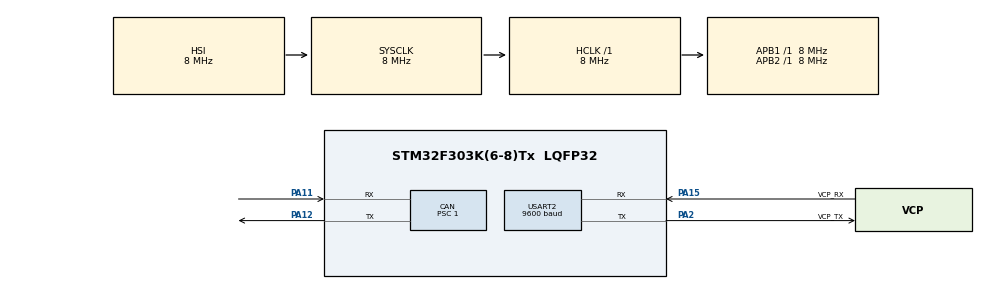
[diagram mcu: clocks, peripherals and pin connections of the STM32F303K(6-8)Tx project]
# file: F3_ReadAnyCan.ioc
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CAN.BS1=CAN_BS1_11TQ
CAN.BS2=CAN_BS2_4TQ
CAN.CalculateBaudRate=500000
CAN.CalculateTimeBit=2000
CAN.CalculateTimeQuantum=125.0
CAN.Prescaler=1
Mcu.Family=STM32F3
Mcu.Name=STM32F303K(6-8)Tx
Mcu.Package=LQFP32
NVIC.CAN_RX0_IRQn=true\:0\:0\:false\:false\:true\:true\:true\:true
NVIC.PriorityGroup=NVIC_PRIORITYGROUP_4
PA11.Mode=CAN_Activate
PA11.Signal=CAN_RX
PA12.Mode=CAN_Activate
PA12.Signal=CAN_TX
PA13.GPIO_Label=SWDIO
PA13.Mode=Serial_Wire
PA13.Signal=SYS_JTMS-SWDIO
PA14.GPIO_Label=SWCLK
PA14.Mode=Serial_Wire
PA14.Signal=SYS_JTCK-SWCLK
PA15.GPIO_Label=VCP_RX
PA15.Mode=Asynchronous
PA15.Signal=USART2_RX
PA2.GPIO_Label=VCP_TX
PA2.Mode=Asynchronous
PA2.Signal=USART2_TX
PF0\ /\ OSC_IN.GPIO_Label=MCO
PF0\ /\ OSC_IN.Mode=HSE-External-Clock-Source
PF0\ /\ OSC_IN.Signal=RCC_OSC_IN
ProjectManager.HeapSize=0x200
ProjectManager.StackSize=0x400
ProjectManager.TargetToolchain=STM32CubeIDE
RCC.AHBFreq_Value=8000000
RCC.APB1Freq_Value=8000000
RCC.APB2Freq_Value=8000000
RCC.CortexFreq_Value=8000000
RCC.HSE_VALUE=8000000
RCC.HSI_VALUE=8000000
RCC.SYSCLKFreq_VALUE=8000000
USART2.BaudRate=9600
USART2.VirtualMode-Asynchronous=VM_ASYNC
board=NUCLEO-F303K8

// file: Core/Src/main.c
/* USER CODE BEGIN Header */
/**
  ******************************************************************************
  * @file           : main.c
  * @brief          : Main program body
  ******************************************************************************
  * @attention
  *
  * Copyright (c) 2024 STMicroelectronics.
  * All rights reserved.
  *
  * This software is licensed under terms that can be found in the LICENSE file
  * in the root directory of this software component.
  * If no LICENSE file comes with this software, it is provided AS-IS.
  *
  ******************************************************************************
  */
/* USER CODE END Header */
#include "main.h"

/* USER CODE BEGIN Includes */
#include <stdio.h>
/* USER CODE END Includes */

CAN_HandleTypeDef hcan;

UART_HandleTypeDef huart2;

/* USER CODE BEGIN PV */
CAN_FilterTypeDef filter;
uint32_t id;
uint32_t dlc;
uint8_t data[8];
/* USER CODE END PV */

void SystemClock_Config(void);
static void MX_GPIO_Init(void);
static void MX_USART2_UART_Init(void);
static void MX_CAN_Init(void);
/* USER CODE BEGIN PFP */
void HAL_CAN_RxFifo0MsgPendingCallback(CAN_HandleTypeDef *hcan){
	CAN_RxHeaderTypeDef RxHeader;
	uint8_t RxData[8];
	if(HAL_CAN_GetRxMessage(hcan,CAN_RX_FIFO0,&RxHeader,RxData)==HAL_OK){
		id = (RxHeader.IDE == CAN_ID_STD)? RxHeader.StdId : RxHeader.ExtId;     // ID
		dlc = RxHeader.DLC;                                                     // DLC
		data[0] = RxData[0];                                                    // Data
		data[1] = RxData[1];
		data[2] = RxData[2];
		data[3] = RxData[3];
		data[4] = RxData[4];
		data[5] = RxData[5];
		data[6] = RxData[6];
		data[7] = RxData[7];
	}
}
/* USER CODE END PFP */

int main(void)
{

  /* USER CODE BEGIN 1 */
    setbuf(stdout, NULL);
  /* USER CODE END 1 */

  /* MCU Configuration--------------------------------------------------------*/

  /* Reset of all peripherals, Initializes the Flash interface and the Systick. */
  HAL_Init();

  /* Configure the system clock */
  SystemClock_Config();

  /* Initialize all configured peripherals */
  MX_GPIO_Init();
  MX_USART2_UART_Init();
  MX_CAN_Init();
  /* USER CODE BEGIN 2 */
  filter.FilterIdHigh = 0;
  filter.FilterIdLow = 0;
  filter.FilterMaskIdHigh = 0;
  filter.FilterMaskIdLow = 0;
  filter.FilterScale = CAN_FILTERSCALE_32BIT;
  filter.FilterFIFOAssignment = CAN_FILTER_FIFO0;
  filter.FilterBank = 0;
  filter.FilterMode = CAN_FILTERMODE_IDMASK;
  filter.SlaveStartFilterBank = 14;
  filter.FilterActivation = ENABLE;
  HAL_CAN_ConfigFilter(&hcan,&filter);

  HAL_CAN_ActivateNotification(&hcan,CAN_IT_RX_FIFO0_MSG_PENDING);
  HAL_CAN_Start(&hcan);
  /* USER CODE END 2 */

  /* Infinite loop */
  /* USER CODE BEGIN WHILE */
  while (1)
  {
	  printf("[%x]-->%d,%d,%d,%d,%d,%d,%d,%d\r\n",id,data[0],data[1],data[2],data[3],data[4],data[5],data[6],data[7]);
    /* USER CODE END WHILE */

  }
}

void SystemClock_Config(void)
{
  RCC_OscInitTypeDef RCC_OscInitStruct = {0};
  RCC_ClkInitTypeDef RCC_ClkInitStruct = {0};

  /** Initializes the RCC Oscillators according to the specified parameters
  * in the RCC_OscInitTypeDef structure.
  */
  RCC_OscInitStruct.OscillatorType = RCC_OSCILLATORTYPE_HSI;
  RCC_OscInitStruct.HSIState = RCC_HSI_ON;
  RCC_OscInitStruct.HSICalibrationValue = RCC_HSICALIBRATION_DEFAULT;
  RCC_OscInitStruct.PLL.PLLState = RCC_PLL_NONE;
  if (HAL_RCC_OscConfig(&RCC_OscInitStruct) != HAL_OK)
  {
    Error_Handler();
  }

  /** Initializes the CPU, AHB and APB buses clocks
  */
  RCC_ClkInitStruct.ClockType = RCC_CLOCKTYPE_HCLK|RCC_CLOCKTYPE_SYSCLK
                              |RCC_CLOCKTYPE_PCLK1|RCC_CLOCKTYPE_PCLK2;
  RCC_ClkInitStruct.SYSCLKSource = RCC_SYSCLKSOURCE_HSI;
  RCC_ClkInitStruct.AHBCLKDivider = RCC_SYSCLK_DIV1;
  RCC_ClkInitStruct.APB1CLKDivider = RCC_HCLK_DIV1;
  RCC_ClkInitStruct.APB2CLKDivider = RCC_HCLK_DIV1;

  if (HAL_RCC_ClockConfig(&RCC_ClkInitStruct, FLASH_LATENCY_0) != HAL_OK)
  {
    Error_Handler();
  }
}

static void MX_CAN_Init(void)
{

  hcan.Instance = CAN;
  hcan.Init.Prescaler = 1;
  hcan.Init.Mode = CAN_MODE_NORMAL;
  hcan.Init.SyncJumpWidth = CAN_SJW_1TQ;
  hcan.Init.TimeSeg1 = CAN_BS1_11TQ;
  hcan.Init.TimeSeg2 = CAN_BS2_4TQ;
  hcan.Init.TimeTriggeredMode = DISABLE;
  hcan.Init.AutoBusOff = DISABLE;
  hcan.Init.AutoWakeUp = DISABLE;
  hcan.Init.AutoRetransmission = DISABLE;
  hcan.Init.ReceiveFifoLocked = DISABLE;
  hcan.Init.TransmitFifoPriority = DISABLE;
  if (HAL_CAN_Init(&hcan) != HAL_OK)
  {
    Error_Handler();
  }

}

static void MX_USART2_UART_Init(void)
{

  huart2.Instance = USART2;
  huart2.Init.BaudRate = 9600;
  huart2.Init.WordLength = UART_WORDLENGTH_8B;
  huart2.Init.StopBits = UART_STOPBITS_1;
  huart2.Init.Parity = UART_PARITY_NONE;
  huart2.Init.Mode = UART_MODE_TX_RX;
  huart2.Init.HwFlowCtl = UART_HWCONTROL_NONE;
  huart2.Init.OverSampling = UART_OVERSAMPLING_16;
  huart2.Init.OneBitSampling = UART_ONE_BIT_SAMPLE_DISABLE;
  huart2.AdvancedInit.AdvFeatureInit = UART_ADVFEATURE_NO_INIT;
  if (HAL_UART_Init(&huart2) != HAL_OK)
  {
    Error_Handler();
  }

}

static void MX_GPIO_Init(void)
{

  /* GPIO Ports Clock Enable */
  __HAL_RCC_GPIOF_CLK_ENABLE();
  __HAL_RCC_GPIOA_CLK_ENABLE();

}

/* USER CODE BEGIN 4 */
int _write(int file, char *ptr, int len)
{
  HAL_UART_Transmit(&huart2,(uint8_t *)ptr,len,10);
  return len;
}
/* USER CODE END 4 */

void Error_Handler(void)
{
  __disable_irq();
  while (1)
  {
  }
}
